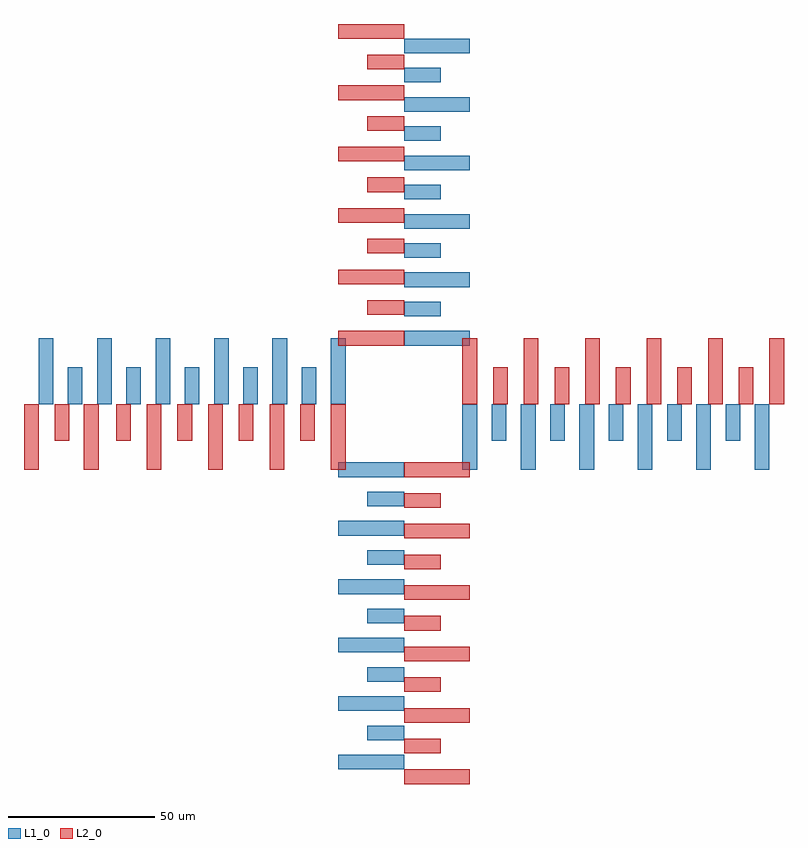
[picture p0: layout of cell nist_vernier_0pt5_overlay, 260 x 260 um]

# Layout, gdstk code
import gdstk
lib = gdstk.Library(unit=1e-6, precision=1e-09)
def R(c, l, rs):  # rectangles x0, y0, x1, y1
    for r in rs: c.add(gdstk.rectangle(r[:2], r[2:], *l))
def A(c, l, x, y, w, h, nx, ny, dx, dy):  # array of equal rectangles
    R(c, l, [(x+i*dx, y+j*dy, x+i*dx+w, y+j*dy+h) for i in range(nx) for j in range(ny)])
L1_0 = (1, 0)
L2_0 = (2, 0)

nist_vernier_0pt5_base = lib.new_cell('nist_vernier_0pt5_base')
A(nist_vernier_0pt5_base, L1_0, -22.5, -125, 22.5, 5, 1, 6, 0, 20)
A(nist_vernier_0pt5_base, L1_0, -12.5, -115, 12.5, 5, 1, 5, 0, 20)
A(nist_vernier_0pt5_base, L1_0, 20, -22.5, 5, 22.5, 6, 1, 20, 0)
A(nist_vernier_0pt5_base, L1_0, 30, -12.5, 5, 12.5, 5, 1, 20, 0)
A(nist_vernier_0pt5_base, L1_0, -125, 0, 5, 22.5, 6, 1, 20, 0)
A(nist_vernier_0pt5_base, L1_0, -115, 0, 5, 12.5, 5, 1, 20, 0)
A(nist_vernier_0pt5_base, L1_0, 0, 20, 22.5, 5, 1, 6, 0, 20)
A(nist_vernier_0pt5_base, L1_0, 0, 30, 12.5, 5, 1, 5, 0, 20)

nist_vernier_0pt5_top = lib.new_cell('nist_vernier_0pt5_top')
A(nist_vernier_0pt5_top, L2_0, 0, -130, 22.5, 5, 1, 6, 0, 21)
A(nist_vernier_0pt5_top, L2_0, 0, -119.5, 12.5, 5, 1, 5, 0, 21)
A(nist_vernier_0pt5_top, L2_0, -88, -22.5, 5, 22.5, 4, 1, 21, 0)
A(nist_vernier_0pt5_top, L2_0, -119.5, -12.5, 5, 12.5, 5, 1, 21, 0)
A(nist_vernier_0pt5_top, L2_0, 20, 0, 5, 22.5, 6, 1, 21, 0)
A(nist_vernier_0pt5_top, L2_0, 30.5, 0, 5, 12.5, 5, 1, 21, 0)
A(nist_vernier_0pt5_top, L2_0, -22.5, 20, 22.5, 5, 1, 6, 0, 21)
A(nist_vernier_0pt5_top, L2_0, -12.5, 30.5, 12.5, 5, 1, 5, 0, 21)
R(nist_vernier_0pt5_top, L2_0, [(-130,-22.5,-125,0), (-109.5,-22.5,-104.5,0)])

nist_vernier_0pt5_overla = lib.new_cell('nist_vernier_0pt5_overlay')
nist_vernier_0pt5_overla.add(gdstk.Reference(nist_vernier_0pt5_base, (0,0)))
nist_vernier_0pt5_overla.add(gdstk.Reference(nist_vernier_0pt5_top, (0,0)))

lib.write_gds('nist_vernier_0pt5_overlay.gds')
